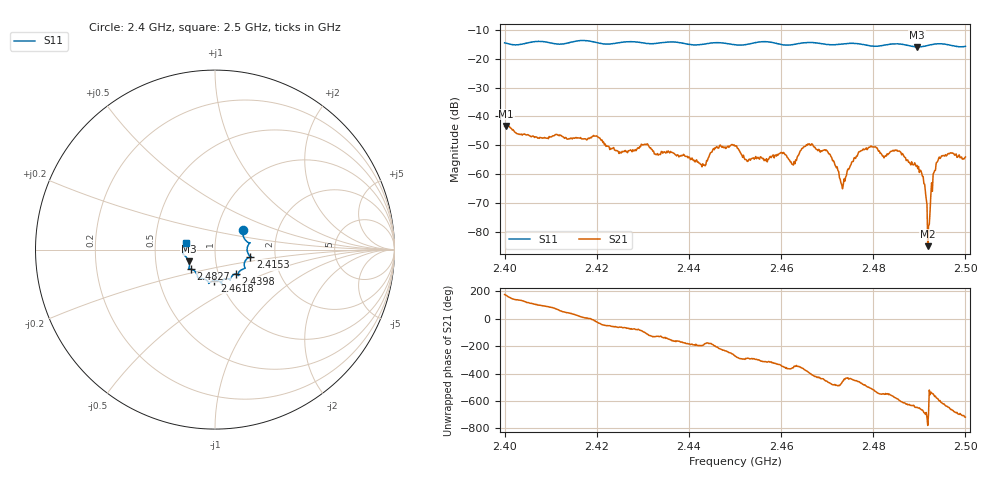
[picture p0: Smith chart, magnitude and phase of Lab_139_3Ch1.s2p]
# Hz S RI R 50
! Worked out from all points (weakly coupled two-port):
!   601 points, 2.4 GHz to 2.5 GHz, reference 50 ohm
!   highest |S21| = -43.29 dB at 2.4003 GHz (marker M1); lowest = -85.0 dB at 2.4918 GHz (marker M2)
!   lowest |S11| = -15.9 dB at 2.4895 GHz (marker M3), VSWR 1.38, Z = 37 - j5.01 ohm
!   |S11| at or under -10 dB: start of sweep to end of sweep
!   S12 and S22 are empty: the file has one direction only
!   S11 on the Smith chart (normalised r, x): 2.4 GHz: 1.33, +0.30; 2.4153 GHz: 1.48, -0.12; 2.4398 GHz: 1.21, -0.34; 2.4618 GHz: 0.94, -0.33; 2.4827 GHz: 0.75, -0.17; 2.5 GHz: 0.72, +0.06
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2.4e9  0.1551 0.1073  -0.00671 0.000378  0 0  0 0
2.400333e9  0.1548 0.1025  -0.00676 0.00105  0 0  0 0
2.415333e9  0.197 -0.0397  0.00375 0.00201  0 0  0 0
2.416667e9  0.2026 -0.0437  0.00399 0.000904  0 0  0 0
2.433333e9  0.1297 -0.134  -0.0013 -0.00168  0 0  0 0
2.439833e9  0.1153 -0.1359  -0.00191 0.000117  0 0  0 0
2.443167e9  0.0877 -0.1562  -0.0014 0.000295  0 0  0 0
2.445667e9  0.084 -0.1701  -0.00274 0.000889  0 0  0 0
2.45e9  0.0654 -0.1621  7.41e-05 0.00305  0 0  0 0
2.4525e9  0.0413 -0.1719  0.000621 0.00165  0 0  0 0
2.461833e9  -0.00336 -0.1729  0.00174 -0.000177  0 0  0 0
2.466667e9  -0.0349 -0.1881  0.00217 -0.00256  0 0  0 0
2.470333e9  -0.0511 -0.1682  -0.000629 -0.00216  0 0  0 0
2.473333e9  -0.0836 -0.1599  -7.65e-05 -0.000551  0 0  0 0
2.477333e9  -0.0972 -0.1507  -0.000876 -0.00239  0 0  0 0
2.482667e9  -0.1349 -0.1087  -0.00209 0.000208  0 0  0 0
2.483333e9  -0.1401 -0.1083  -0.00218 0.000555  0 0  0 0
2.4895e9  -0.1458 -0.066  0.000395 0.00136  0 0  0 0
2.490833e9  -0.1562 -0.0474  0.000635 0.000655  0 0  0 0
2.491833e9  -0.1662 -0.0358  2.87e-05 -4.85e-05  0 0  0 0
2.494167e9  -0.1805 -0.0216  -0.00112 0.00146  0 0  0 0
2.5e9  -0.1594 0.0386  0.00198 4.16e-05  0 0  0 0
